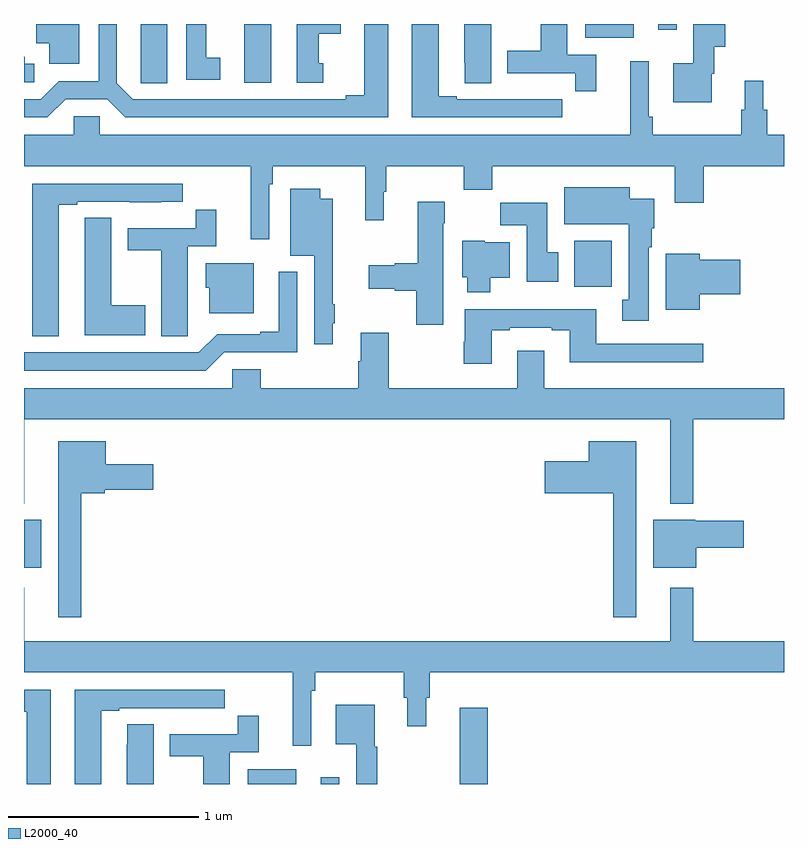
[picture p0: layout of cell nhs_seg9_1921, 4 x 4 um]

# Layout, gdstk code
import gdstk
lib = gdstk.Library(unit=1e-6, precision=1e-09)
def R(c, l, rs):  # rectangles x0, y0, x1, y1
    for r in rs: c.add(gdstk.rectangle(r[:2], r[2:], *l))
def P(c, l, *ps):  # polygons
    for p in ps: c.add(gdstk.Polygon(p, *l))
L2000_40 = (2000, 40)

nhs_seg9_1921 = lib.new_cell('nhs_seg9_1921')
R(nhs_seg9_1921, L2000_40, [(220.178,1194.5,220.432,1194.577), (220.562,1194.5,220.659,1194.535), (221.294,1194.5,221.441,1194.901), (219,1195.637,219.091,1195.891), (221.897,1197.116,222.094,1197.358), (220.16,1198.191,220.3,1198.5), (221.954,1198.427,222.208,1198.5), (222.338,1198.47,222.435,1198.5)])
P(nhs_seg9_1921, L2000_40, [(219.754,1198.5),(219.614,1198.5),(219.614,1198.297),(219.615,1198.297),(219.615,1198.189),(219.754,1198.189)],
  [(220.576,1198.293),(220.552,1198.293),(220.552,1198.448),(220.666,1198.448),(220.666,1198.5),(220.436,1198.5),(220.436,1198.191),(220.576,1198.191)],
  [(222.011,1198.338),(221.86,1198.338),(221.86,1198.5),(221.72,1198.5),(221.72,1198.359),(221.543,1198.359),(221.543,1198.242),(221.902,1198.242),(221.902,1198.146),(222.011,1198.146)],
  [(221.833,1198.104),(221.72,1198.104),(221.72,1198.105),(221.554,1198.105),(221.554,1198.104),(221.278,1198.104),(221.278,1198.119),(221.182,1198.119),(221.182,1198.5),(221.042,1198.5),(221.042,1198.008),(221.833,1198.008)],
  [(219.219,1198.104),(219.437,1198.104),(219.533,1198.008),(220.918,1198.008),(220.918,1198.5),(220.79,1198.5),(220.79,1198.124),(220.694,1198.124),(220.694,1198.104),(219.573,1198.104),(219.489,1198.188),(219.489,1198.5),(219.393,1198.5),(219.393,1198.2),(219.183,1198.2),(219.087,1198.104),(219,1198.104),(219,1198.008),(219.123,1198.008)],
  [(220.033,1198.322),(219.958,1198.322),(219.958,1198.5),(219.854,1198.5),(219.854,1198.206),(220.033,1198.206)],
  [(219.292,1198.5),(219.065,1198.5),(219.065,1198.4),(219.134,1198.4),(219.134,1198.29),(219.292,1198.29)],
  [(222.621,1198.238),(222.634,1198.238),(222.634,1198.379),(222.69,1198.379),(222.69,1198.5),(222.523,1198.5),(222.523,1198.294),(222.416,1198.294),(222.416,1198.088),(222.621,1198.088)],
  [(221.458,1198.5),(221.318,1198.5),(221.318,1198.297),(221.319,1198.297),(221.319,1198.189),(221.458,1198.189)],
  [(219.053,1198.29),(219.004,1198.29),(219.004,1198.325),(219,1198.329),(219,1198.194),(219.053,1198.194)],
  [(220.29,1197.656),(220.31,1197.656),(220.31,1197.752),(220.795,1197.752),(220.795,1197.468),(220.894,1197.468),(220.894,1197.618),(220.906,1197.618),(220.906,1197.752),(221.314,1197.752),(221.314,1197.628),(221.465,1197.628),(221.465,1197.752),(222.425,1197.752),(222.425,1197.558),(222.578,1197.558),(222.578,1197.752),(223,1197.752),(223,1197.916),(222.911,1197.916),(222.911,1198.05),(222.892,1198.05),(222.892,1198.201),(222.794,1198.201),(222.794,1198.05),(222.775,1198.05),(222.775,1197.916),(222.308,1197.916),(222.308,1198.012),(222.288,1198.012),(222.288,1198.303),(222.191,1198.303),(222.191,1197.916),(219.399,1197.916),(219.399,1198.014),(219.261,1198.014),(219.261,1197.916),(219,1197.916),(219,1197.752),(220.193,1197.752),(220.193,1197.366),(220.29,1197.366)],
  [(219.184,1197.549),(219.28,1197.549),(219.28,1197.564),(219.556,1197.564),(219.556,1197.563),(219.722,1197.563),(219.722,1197.564),(219.835,1197.564),(219.835,1197.66),(219.044,1197.66),(219.044,1196.857),(219.184,1196.857)],
  [(222.289,1197.326),(222.304,1197.326),(222.304,1197.426),(222.316,1197.426),(222.316,1197.58),(222.187,1197.58),(222.187,1197.64),(221.843,1197.64),(221.843,1197.446),(222.182,1197.446),(222.182,1197.05),(222.149,1197.05),(222.149,1196.937),(222.289,1196.937)],
  [(220.624,1196.926),(220.636,1196.926),(220.636,1197.026),(220.625,1197.026),(220.625,1197.285),(220.624,1197.285),(220.624,1197.58),(220.558,1197.58),(220.558,1197.634),(220.4,1197.634),(220.4,1197.281),(220.527,1197.281),(220.527,1196.814),(220.624,1196.814)],
  [(221.206,1197.452),(221.214,1197.452),(221.214,1197.565),(221.072,1197.565),(221.072,1197.242),(220.952,1197.242),(220.952,1197.229),(220.815,1197.229),(220.815,1197.107),(220.952,1197.107),(220.952,1197.095),(221.065,1197.095),(221.065,1196.916),(221.206,1196.916)],
  [(221.812,1197.3),(221.755,1197.3),(221.755,1197.558),(221.506,1197.558),(221.506,1197.44),(221.645,1197.44),(221.645,1197.144),(221.812,1197.144)],
  [(219.861,1196.968),(219.862,1196.968),(219.862,1197.33),(220.013,1197.33),(220.013,1197.523),(219.904,1197.523),(219.904,1197.426),(219.545,1197.426),(219.545,1197.31),(219.722,1197.31),(219.722,1196.857),(219.861,1196.857)],
  [(219.637,1197.021),(219.46,1197.021),(219.46,1197.479),(219.321,1197.479),(219.321,1197.371),(219.32,1197.371),(219.32,1196.861),(219.637,1196.861)],
  [(221.455,1197.164),(221.557,1197.164),(221.557,1197.352),(221.424,1197.352),(221.424,1197.358),(221.306,1197.358),(221.306,1197.168),(221.333,1197.168),(221.333,1197.089),(221.455,1197.089)],
  [(222.556,1197.077),(222.769,1197.077),(222.769,1197.26),(222.556,1197.26),(222.556,1197.292),(222.377,1197.292),(222.377,1196.996),(222.556,1196.996)],
  [(220.21,1197.241),(219.956,1197.241),(219.956,1197.111),(219.974,1197.111),(219.974,1196.978),(220.21,1196.978)],
  [(220.053,1196.772),(220.437,1196.772),(220.437,1197.196),(220.34,1197.196),(220.34,1196.881),(220.244,1196.881),(220.244,1196.868),(220.017,1196.868),(219.921,1196.772),(219,1196.772),(219,1196.676),(219.957,1196.676)],
  [(221.461,1196.889),(221.557,1196.889),(221.557,1196.901),(221.777,1196.901),(221.777,1196.889),(221.873,1196.889),(221.873,1196.72),(222.574,1196.72),(222.574,1196.817),(222.013,1196.817),(222.013,1196.998),(221.321,1196.998),(221.321,1196.828),(221.314,1196.828),(221.314,1196.712),(221.461,1196.712)],
  [(219.001,1196.42),(222.401,1196.42),(222.401,1195.976),(222.523,1195.976),(222.523,1196.42),(223,1196.42),(223,1196.584),(221.737,1196.584),(221.737,1196.779),(221.597,1196.779),(221.597,1196.584),(220.92,1196.584),(220.92,1196.875),(220.772,1196.875),(220.772,1196.726),(220.76,1196.726),(220.76,1196.584),(220.247,1196.584),(220.247,1196.682),(220.095,1196.682),(220.095,1196.584),(219,1196.584),(219,1195.976),(219.001,1195.976)],
  [(222.223,1196.305),(221.972,1196.305),(221.972,1196.2),(221.742,1196.2),(221.742,1196.03),(222.102,1196.03),(222.102,1195.377),(222.223,1195.377)],
  [(219.301,1196.03),(219.426,1196.03),(219.426,1196.048),(219.679,1196.048),(219.679,1196.182),(219.43,1196.182),(219.43,1196.305),(219.179,1196.305),(219.179,1195.377),(219.301,1195.377)],
  [(222.538,1195.744),(222.787,1195.744),(222.787,1195.886),(222.534,1195.886),(222.534,1195.891),(222.311,1195.891),(222.311,1195.637),(222.538,1195.637)],
  [(220.512,1194.992),(220.532,1194.992),(220.532,1195.088),(220.999,1195.088),(220.999,1194.954),(221.018,1194.954),(221.018,1194.804),(221.116,1194.804),(221.116,1194.954),(221.135,1194.954),(221.135,1195.088),(223,1195.088),(223,1195.252),(222.523,1195.252),(222.523,1195.534),(222.401,1195.534),(222.401,1195.252),(219.001,1195.252),(219.001,1195.534),(219,1195.534),(219,1195.088),(220.415,1195.088),(220.415,1194.702),(220.512,1194.702)],
  [(219.142,1194.996),(219,1194.996),(219,1194.88),(219.014,1194.88),(219.014,1194.5),(219.142,1194.5)],
  [(219.406,1194.885),(219.502,1194.885),(219.502,1194.9),(219.778,1194.9),(219.778,1194.899),(219.944,1194.899),(219.944,1194.9),(220.057,1194.9),(220.057,1194.996),(219.266,1194.996),(219.266,1194.5),(219.406,1194.5)],
  [(220.858,1194.696),(220.846,1194.696),(220.846,1194.916),(220.64,1194.916),(220.64,1194.71),(220.749,1194.71),(220.749,1194.5),(220.858,1194.5)],
  [(220.084,1194.666),(220.235,1194.666),(220.235,1194.859),(220.126,1194.859),(220.126,1194.762),(219.767,1194.762),(219.767,1194.646),(219.944,1194.646),(219.944,1194.5),(220.084,1194.5)],
  [(219.682,1194.815),(219.543,1194.815),(219.543,1194.707),(219.542,1194.707),(219.542,1194.5),(219.682,1194.5)])

lib.write_gds('nhs_seg9_1921.gds')
